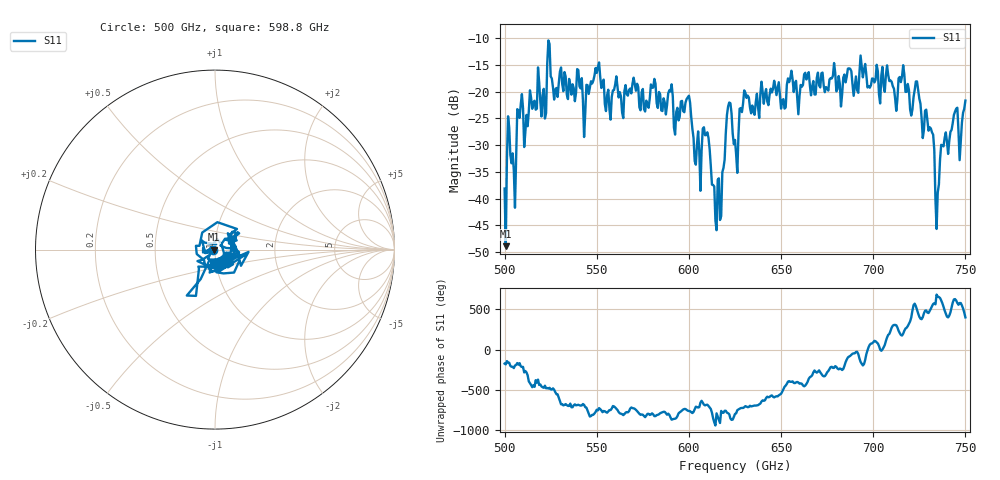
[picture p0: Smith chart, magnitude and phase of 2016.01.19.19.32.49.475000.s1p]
!Created with skrf (http://scikit-rf.org).
# GHz S RI R 50.0
!freq ReS11 ImS11
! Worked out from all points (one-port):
!   401 points, 500 GHz to 750 GHz, reference 50 ohm
!   lowest |S11| = -48.9 dB at 500.6 GHz (marker M1), VSWR 1.01, Z = 49.6 + j0.0182 ohm
!   |S11| at or under -10 dB: start of sweep to end of sweep
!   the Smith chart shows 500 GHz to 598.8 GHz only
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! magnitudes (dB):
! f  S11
! 500 GHz  -38.1
! 500.6 GHz  -48.9
! 502.5 GHz  -26.7
! 505 GHz  -34.8
! 508.1 GHz  -24.9
! 521.2 GHz  -19.5
! 524.4 GHz  -11.1
! 527.5 GHz  -19.6
! 531.2 GHz  -18.5
! 562.5 GHz  -20.1
! 580.6 GHz  -19.2
! 593.8 GHz  -23.0
! 599.4 GHz  -21.1
! 605 GHz  -27.4
! 609.4 GHz  -28.1
! 615.6 GHz  -36.4
! 621.9 GHz  -22.0
! 625 GHz  -29.0
! 630.6 GHz  -20.2
! 651.2 GHz  -21.4
! 656.2 GHz  -17.7
! 687.5 GHz  -15.7
! 718.8 GHz  -18.6
! 731.2 GHz  -26.9
! 735 GHz  -38.8
! 738.1 GHz  -30.2
! 747.5 GHz  -29.3
! 750 GHz  -21.7
